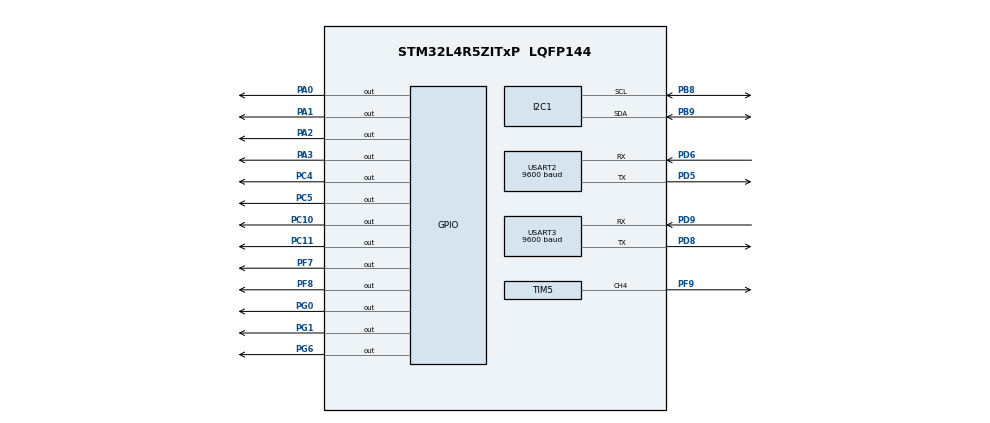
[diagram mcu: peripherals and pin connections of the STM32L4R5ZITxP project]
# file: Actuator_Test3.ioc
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Mcu.Family=STM32L4
Mcu.Name=STM32L4R5ZITxP
Mcu.Package=LQFP144
NVIC.PriorityGroup=NVIC_PRIORITYGROUP_4
NVIC.TIM2_IRQn=true\:4\:0\:true\:false\:true\:true\:true\:true
NVIC.TIM3_IRQn=true\:5\:0\:true\:false\:true\:true\:true\:true
NVIC.TIM4_IRQn=true\:3\:0\:true\:false\:true\:true\:true\:true
NVIC.USART2_IRQn=true\:0\:0\:false\:false\:true\:true\:true\:true
NVIC.USART3_IRQn=true\:0\:0\:false\:false\:true\:true\:true\:true
PA0.Signal=GPIO_Output
PA1.Signal=GPIO_Output
PA10.Signal=USB_OTG_FS_ID
PA13\ (JTMS/SWDIO).Signal=SYS_JTMS-SWDIO
PA14\ (JTCK/SWCLK).Signal=SYS_JTCK-SWCLK
PA2.Signal=GPIO_Output
PA3.Signal=GPIO_Output
PA6.Signal=SPI1_MISO
PA7.Signal=SPI1_MOSI
PA8.Signal=USB_OTG_FS_SOF
PA9.Signal=USB_OTG_FS_VBUS
PB0.Signal=S_TIM3_CH3
PB1.Signal=ADCx_IN16
PB10.Signal=S_TIM2_CH3
PB12.Signal=SAI2_FS_A
PB13.Signal=SAI2_SCK_A
PB14.Signal=S_TIM15_CH1
PB15.Signal=SAI2_SD_A
PB2.Signal=COMP1_INP
PB3\ (JTDO/TRACESWO).Signal=SPI3_SCK
PB4\ (NJTRST).Signal=SPI3_MISO
PB5.Signal=SPI3_MOSI
PB6.Signal=COMP2_INP
PB8.GPIO_Pu=GPIO_PULLUP
PB8.Mode=I2C
PB8.Signal=I2C1_SCL
PB9.GPIO_Pu=GPIO_PULLUP
PB9.Mode=I2C
PB9.Signal=I2C1_SDA
PC0.Signal=ADCx_IN1
PC1.Signal=ADCx_IN2
PC10.Signal=GPIO_Output
PC11.Signal=GPIO_Output
PC12.Signal=SDMMC1_CK
PC13.Signal=SYS_WKUP2
PC14-OSC32_IN\ (PC14).Signal=RCC_OSC32_IN
PC15-OSC32_OUT\ (PC15).Signal=RCC_OSC32_OUT
PC2.Signal=ADCx_IN3
PC3.Signal=ADCx_IN4
PC4.Signal=GPIO_Output
PC5.Signal=GPIO_Output
PC6.Signal=SAI2_MCLK_A
PC7.Signal=S_TIM3_CH2
PC8.Signal=SDMMC1_D0
PC9.Signal=SDMMC1_D1
PD0.Signal=CAN1_RX
PD14.Signal=S_TIM4_CH3
PD15.Signal=S_TIM4_CH4
PD2.Signal=SDMMC1_CMD
PD5.Mode=Asynchronous
PD5.Signal=USART2_TX
PD6.Mode=Asynchronous
PD6.Signal=USART2_RX
PD8.Mode=Asynchronous
PD8.Signal=USART3_TX
PD9.Mode=Asynchronous
PD9.Signal=USART3_RX
PE0.Signal=S_TIM4_ETR
PE10.Signal=TIM1_CH2N
PE11.Signal=S_TIM1_CH2
PE12.Signal=TIM1_CH3N
PE13.Signal=S_TIM1_CH3
PE14.Signal=TIM1_BKIN2
PE15.Signal=TIM1_BKIN
PE2.Signal=SAI1_MCLK_A
PE3.Signal=SAI1_SD_B
PE7.Signal=S_TIM1_ETR
PE8.Signal=TIM1_CH1N
PE9.Signal=S_TIM1_CH1
PF0.Signal=I2C2_SDA
PF1.Signal=I2C2_SCL
PF2.Signal=I2C2_SMBA
PF7.Signal=GPIO_Output
PF8.Signal=GPIO_Output
PF9.Signal=S_TIM5_CH4
PG0.Signal=GPIO_Output
PG1.Signal=GPIO_Output
PG10.Signal=USART1_RX
PG6.Signal=GPIO_Output
PG7.Signal=LPUART1_TX
PG8.Signal=LPUART1_RX
PG9.Signal=USART1_TX
PH0-OSC_IN\ (PH0).Mode=HSE-External-Oscillator
PH0-OSC_IN\ (PH0).Signal=RCC_OSC_IN
PH1-OSC_OUT\ (PH1).Mode=HSE-External-Oscillator
PH1-OSC_OUT\ (PH1).Signal=RCC_OSC_OUT
ProjectManager.HeapSize=0x200
ProjectManager.StackSize=0x400
ProjectManager.TargetToolchain=STM32CubeIDE
RCC.HSE_VALUE=8000000
RCC.HSI48_VALUE=48000000
RCC.HSI_VALUE=16000000
RCC.LSE_VALUE=32768
RCC.MSI_VALUE=4000000
RCC.VCOOutputFreq_Value=32000000
SH.ADCx_IN1.0=ADC1_IN1
SH.ADCx_IN16.0=ADC1_IN16
SH.ADCx_IN2.0=ADC1_IN2
SH.ADCx_IN3.0=ADC1_IN3
SH.ADCx_IN4.0=ADC1_IN4
SH.S_TIM15_CH1.0=TIM15_CH1
SH.S_TIM1_CH1.0=TIM1_CH1
SH.S_TIM1_CH2.0=TIM1_CH2
SH.S_TIM1_CH3.0=TIM1_CH3
SH.S_TIM1_ETR.0=TIM1_ETR
SH.S_TIM2_CH3.0=TIM2_CH3
SH.S_TIM3_CH2.0=TIM3_CH2
SH.S_TIM3_CH3.0=TIM3_CH3
SH.S_TIM4_CH3.0=TIM4_CH3
SH.S_TIM4_CH4.0=TIM4_CH4
SH.S_TIM4_ETR.0=TIM4_ETR
SH.S_TIM5_CH4.0=TIM5_CH4,PWM Generation4 CH4
TIM2.Prescaler=39999
TIM3.Prescaler=39999
TIM5.Channel-PWM\ Generation4\ CH4=TIM_CHANNEL_4
TIM5.Period=49
TIM5.Prescaler=39
USART2.BaudRate=9600
USART2.VirtualMode-Asynchronous=VM_ASYNC
USART3.BaudRate=9600
USART3.VirtualMode-Asynchronous=VM_ASYNC
VP_TIM2_VS_ClockSourceINT.Mode=Internal
VP_TIM3_VS_ClockSourceINT.Mode=Internal
VP_TIM4_VS_ClockSourceINT.Mode=Internal
board=NUCLEO-L4R5ZI-P

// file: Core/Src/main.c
/* USER CODE BEGIN Header */
/**
  ******************************************************************************
  * @file           : main.c
  * @brief          : Main program body
  ******************************************************************************
  * @attention
  *
  * <h2><center>&copy; Copyright (c) 2021 STMicroelectronics.
  * All rights reserved.</center></h2>
  *
  * This software component is licensed by ST under BSD 3-Clause license,
  * the "License"; You may not use this file except in compliance with the
  * License. You may obtain a copy of the License at:
  *                        opensource.org/licenses/BSD-3-Clause
  *
  ******************************************************************************
  */
/* USER CODE END Header */
#include "main.h"

/* USER CODE BEGIN Includes */
#include "math.h"
#include "stdlib.h"

/* USER CODE END Includes */

I2C_HandleTypeDef hi2c1;

TIM_HandleTypeDef htim2;
TIM_HandleTypeDef htim3;
TIM_HandleTypeDef htim4;
TIM_HandleTypeDef htim5;

UART_HandleTypeDef huart2;
UART_HandleTypeDef huart3;

/* USER CODE BEGIN PV */
uint8_t RX_Buffer[5]; //"Interrupt!"
uint8_t TX_Buffer[] = "Hello World\r\n";
/* USER CODE END PV */

void SystemClock_Config(void);
static void MX_GPIO_Init(void);
static void MX_USART2_UART_Init(void);
static void MX_USART3_UART_Init(void);
static void MX_TIM5_Init(void);
static void MX_TIM2_Init(void);
static void MX_TIM3_Init(void);
static void MX_TIM4_Init(void);
static void MX_I2C1_Init(void);

/* USER CODE BEGIN 0 */
#define Motor1A GPIO_PIN_0
#define Motor1B GPIO_PIN_1
#define Motor2A GPIO_PIN_2
#define Motor2B GPIO_PIN_3

#define Motor3A GPIO_PIN_11
#define Motor3B GPIO_PIN_5
#define Motor4A GPIO_PIN_4
#define Motor4B GPIO_PIN_10

void forward(GPIO_TypeDef* GPIOX, uint16_t MotorA, uint16_t MotorB)
{
    HAL_GPIO_WritePin(GPIOX, MotorA, GPIO_PIN_RESET);
    HAL_GPIO_WritePin(GPIOX, MotorB, GPIO_PIN_SET);
}

void backward(GPIO_TypeDef* GPIOX, uint16_t MotorA, uint16_t MotorB)
{
    HAL_GPIO_WritePin(GPIOX, MotorA, GPIO_PIN_SET);
    HAL_GPIO_WritePin(GPIOX, MotorB, GPIO_PIN_RESET);
}

void stop(GPIO_TypeDef* GPIOX, uint16_t MotorA, uint16_t MotorB)
{
    HAL_GPIO_WritePin(GPIOX, MotorA, GPIO_PIN_RESET);
    HAL_GPIO_WritePin(GPIOX, MotorB, GPIO_PIN_RESET);
}

#define MAX_GROUP_SIZE 3 // Maximum number of notes in a group
#define MAX_NOTE_DISTANCE 3 // Maximum distance between notes in a group

#define sizeLimit 2000
#define noteColNum 5
#define lowestNote 36
#define highestNote 96
#define defaultRight 60
#define defaultLeft 43

int actuatorPosL[sizeLimit][2];
int actuatorPosL_len = 0;
int actuatorPosR[sizeLimit][2];
int actuatorPosR_len = 0;

int song_length = 0;
int read_notes = 0;

int reading_title = 0;
char title_data[50];
int title_index = 0;

int actuatorL = 0;
int actuatorR = 0;

int DCLeftStart = 0;
int DCLeftStop = 0;
int DCRightStart = 0;
int DCRightStop = 0;

int note_dataL[sizeLimit][noteColNum];
int note_dataL_len = 0;
int note_dataR[sizeLimit][noteColNum];
int note_dataR_len = 0;

int note_dataR_stop[sizeLimit][2];
int note_dataL_stop[sizeLimit][2];

double current_pos_left = 0;
double current_pos_right = 0;

int formGroups(int noteArr[][noteColNum], int len);
int groupRange(int noteArr[][noteColNum], int len, int group1, int group2);
void groupMerge(int noteArr[][noteColNum], int len, int group1, int group2);
void groupContinuity(int noteArr[][noteColNum], int len);
void movementOps(int noteArr[][noteColNum], int len);
int assignActuatorPos(int actuatorPos[][2], int noteArr[][noteColNum], int note_len, int hand);
void splitStartStop(int noteArr[][noteColNum], int note_len, int noteArrStop[][2]);
void sortStop(int noteArr[][2], int note_len);
void assignDCAct(int actuatorPos[][2], int actuator_len, int noteArr[][noteColNum], int note_len);
void moveActuatorLeft(int note_num);
void moveActuatorRight(int note_num);
int nearestMinWhite(int noteNum);
int nearestMaxWhite(int noteNum);
int isBlackKey(int noteNum);
int setNextLinActuatorTime(int current_time);
void actuatorMoveDistLoop(double dist, int dir);

int formGroups(int noteArr[][noteColNum], int len){
	movementOps(noteArr, len);
	int num_groups = noteArr[len - 1][3];
	for(int i = 0; i < num_groups; i++){
		if(groupRange(noteArr, len, i, i + 1) <= 11){
			groupMerge(noteArr, len, i, i + 1);
			num_groups--;
			groupContinuity(noteArr, len);
			i--;
		}
	}
	return 0;
}

// Given two group numbers, return the collective range
int groupRange(int noteArr[][noteColNum], int len, int group1, int group2){
	int minNote = 100;
	int maxNote = 0;
	for(int i = 0; i < len; i++){
		if(noteArr[i][3] == group1 || noteArr[i][3] == group2){
			if(noteArr[i][4] == 0){
				int min = nearestMinWhite(noteArr[i][0]);
				int max = nearestMaxWhite(noteArr[i][0]);
				if(min < minNote){
					minNote = min;
				}
				if(max > maxNote){
					maxNote = max;
				}
			}
		}
	}
	return maxNote - minNote;
}

// Identify the nearest white note under the argument note number
int nearestMinWhite(int noteNum){
	if(isBlackKey(noteNum)){
		return noteNum - 1;
	}
	return noteNum;
}

// Identify the nearest white note above the argument note number
int nearestMaxWhite(int noteNum){
	if(isBlackKey(noteNum)){
			return noteNum + 1;
		}
		return noteNum;
}

// Identify if a note is a black key
int isBlackKey(int noteNum){
	int isBlack = noteNum % 12;
	if(isBlack == 1 || isBlack == 3 || isBlack == 6 || isBlack == 8 || isBlack == 10){
		return 1;
	}
	return 0;
}
// Given two consecutive groups, combine them into one group using the lower group number; assumes group1 < group2
void groupMerge(int noteArr[][noteColNum], int len, int group1, int group2){
	for(int i = 0; i < len; i++){
		if(noteArr[i][3] == group2){
			noteArr[i][3] = group1;
		}
	}
}

// Reassign group numbers so they are sequential in value
void groupContinuity(int noteArr[][noteColNum], int len){
	int prevGroupNum = 0;
	int replaceGroup = 0;
	int newGroupNum = 0;
	int diff = 0;
	for(int i = 0; i < len; i++){
		diff = noteArr[i][3] - prevGroupNum;
		if(diff > 1 || diff < 0){
			replaceGroup = noteArr[i][3];
			newGroupNum = prevGroupNum + 1;
			while(noteArr[i][3] == replaceGroup && (i < len)){
				noteArr[i][3] = newGroupNum;
				i++;
			}
			i--;
		}
		prevGroupNum = noteArr[i][3];
	}
}

// Search for all movement opportunities and use them as divisions between groups
void movementOps(int noteArr[][noteColNum], int len){
	int current_group = 0;
	int time_max = noteArr[0][2];
	noteArr[0][3] = 0;
	for(int i = 1; i < len; i++){
		if(noteArr[i][1] >= time_max){
			current_group++;
			noteArr[i][3] = current_group;
			time_max = noteArr[i][2];
		}
		else if(noteArr[i][2] > time_max){
			time_max = noteArr[i][2];
			noteArr[i][3] = current_group;
		}
		else{
			noteArr[i][3] = current_group;
		}
	}
}

// Assign actuator positions using a note data array
int assignActuatorPos(int actuatorPos[][2], int noteArr[][noteColNum], int note_len, int hand){
	if(note_len < 1){
		return 0;
	}
	int current_group = 0;
	int group_min_note = noteArr[0][0];
	int group_min_time = noteArr[0][1];
	for(int i = 0; i < note_len; i++){
		if(noteArr[i][3] != current_group){
			if(group_min_note > highestNote || group_min_note < lowestNote){
				if(hand){
					actuatorPos[current_group][0] = defaultLeft;
				}
				else{
					actuatorPos[current_group][0] = defaultRight;
				}
			}
			else{
				actuatorPos[current_group][0] = group_min_note;
			}
			actuatorPos[current_group][1] = group_min_time;
			if(!noteArr[i][4]){
				group_min_note = nearestMinWhite(noteArr[i][0]);
			}
			else{
				group_min_note = 100;
			}
			group_min_time = noteArr[i][1];
			current_group = noteArr[i][3];
		}
		else if(noteArr[i][0] < group_min_note && !noteArr[i][4]){
				group_min_note = nearestMinWhite(noteArr[i][0]);
		}
	}
	if(group_min_note > highestNote || group_min_note < lowestNote){
		if(hand){
			actuatorPos[current_group][0] = defaultLeft;
		}
		else{
			actuatorPos[current_group][0] = defaultRight;
		}
	}
	else{
		actuatorPos[current_group][0] = group_min_note;
	}
	actuatorPos[current_group][1] = group_min_time;

	return current_group + 1;
}

// Split start and stop times for notes
void splitStartStop(int noteArr[][noteColNum], int note_len, int noteArrStop[][2]){
	for(int i = 0; i < note_len; i++){
		noteArrStop[i][0] = noteArr[i][0];
		noteArrStop[i][1] = noteArr[i][2];
	}
}

// Sort stop array
void sortStop(int noteArr[][2], int note_len){
	int key_note, key_time, j;
	for(int i = 1; i < note_len; i++){
		key_note = noteArr[i][0];
		key_time = noteArr[i][1];
		j = i - 1;

		while(j >= 0 && noteArr[j][1] > key_time){
			noteArr[j + 1][0] = noteArr[j][0];
			noteArr[j + 1][1] = noteArr[j][1];
			j--;
		}
		noteArr[j + 1][0] = key_note;
		noteArr[j + 1][1] = key_time;
	}
}

// 12 indicates note should be played on speaker
int DCLookup[][12] = {
		{0, 1, 2, 3, 4, 5, 6, 7, 8, 9, 10, 11},
		{0, 0, 0, 0, 0, 0, 0, 0, 0, 0, 0, 0},
		{11, 12, 0, 1, 2, 4, 12, 5, 6, 7, 8, 9},
		{0, 0, 0, 0, 0, 0, 0, 0, 0, 0, 0, 0},
		{9, 10, 11, 12, 0, 2, 3, 4, 12, 5, 6, 7},
		{7, 8, 9, 10, 11, 0, 1, 2, 3, 4, 12, 5},
		{0, 0, 0, 0, 0, 0, 0, 0, 0, 0, 0, 0},
		{5, 6, 7, 8, 9, 11, 12, 0, 1, 2, 3, 4},
		{0, 0, 0, 0, 0, 0, 0, 0, 0, 0, 0, 0},
		{4, 12, 5, 6, 7, 9, 10, 11, 12, 0, 1, 2},
		{0, 0, 0, 0, 0, 0, 0, 0, 0, 0, 0, 0},
		{2, 3, 4, 12, 5, 7, 8, 9, 10, 11, 12, 0},
};

// Assign DC actuator activations
void assignDCAct(int actuatorPos[][2], int actuator_len, int noteArr[][noteColNum], int note_len){
	int DCNum = 0;
	for(int i = 0; i < note_len; i++){
		if(!noteArr[i][4]){
			DCNum = DCLookup[actuatorPos[(noteArr[i][3])][0] % 12][noteArr[i][0] % 12];
			if(DCNum < 12){
				noteArr[i][0] = DCNum;
			}
		}

	}
}

// Sets TIM2 ARR so that it triggers for the next linear actuator movement
// Returns 0 if there is no next linear actuator movement
int setNextLinActuatorTime(int current_time){
	if(actuatorL >= actuatorPosL_len){
		if(actuatorR >= actuatorPosR_len){
			HAL_TIM_Base_Stop_IT(&htim2);
			return 0;
		}
		else{
			TIM2->ARR = actuatorPosR[actuatorR][1] - current_time;
		}
	}
	else if(actuatorR >= actuatorPosR_len){
		if(actuatorL >= actuatorPosL_len){
			HAL_TIM_Base_Stop_IT(&htim2);
			return 0;
		}
		else{
			TIM2->ARR = actuatorPosL[actuatorL][1] - current_time;
		}
	}
	else if(actuatorPosL[actuatorL][1] < actuatorPosR[actuatorR][1]){
		TIM2->ARR = actuatorPosL[actuatorL][1] - current_time;
	}
	else{
		TIM2->ARR = actuatorPosR[actuatorR][1] - current_time;
	}

	return 1;
}

int movements = 0;
void HAL_TIM_PeriodElapsedCallback(TIM_HandleTypeDef* htim)
{
	// Move actuator
	if(htim == &htim2){
		movements++;
		HAL_TIM_Base_Stop_IT(&htim2);
		HAL_TIM_Base_Stop_IT(&htim3);
		HAL_TIM_Base_Stop_IT(&htim4);
		int current_time = 0;
		if(actuatorL >= actuatorPosL_len){
			moveActuatorRight(actuatorPosR[actuatorR][0]);
			current_time = actuatorPosR[actuatorR][1];
			actuatorR++;
		}
		else if(actuatorR >= actuatorPosR_len){
			moveActuatorLeft(actuatorPosL[actuatorL][0]);
			current_time = actuatorPosL[actuatorL][1];
			actuatorL++;
		}
		else if(actuatorPosL[actuatorL][1] == actuatorPosR[actuatorR][1]){
		    moveActuatorRight(actuatorPosR[actuatorR][0]);
		    moveActuatorLeft(actuatorPosL[actuatorL][0]);
		    current_time = actuatorPosR[actuatorR][1];
		    actuatorR++;
		    actuatorL++;
		}
		else if(actuatorPosL[actuatorL][1] < actuatorPosR[actuatorR][1]){
		    moveActuatorLeft(actuatorPosL[actuatorL][0]);
		    current_time = actuatorPosL[actuatorL][1];
		    actuatorL++;
		}
		else{
		    moveActuatorRight(actuatorPosR[actuatorR][0]);
		    current_time = actuatorPosR[actuatorR][1];
		    actuatorR++;
		}
		HAL_TIM_Base_Start_IT(&htim2);
		HAL_TIM_Base_Start_IT(&htim3);
		HAL_TIM_Base_Start_IT(&htim4);
		setNextLinActuatorTime(current_time);
		movements++;
	}
	else if(htim == &htim3){
		int current_time = 0;
		if(note_dataR[DCRightStart][1] == note_dataL[DCLeftStart][1]){
			current_time = note_dataR[DCRightStart][1];

			while(note_dataR[DCRightStart][1] == current_time){
				//***************************************************
				// Push actuator number "note_dataR[DCRightStart][0]"
				//***************************************************
				DCRightStart++;
			}
			while(note_dataL[DCLeftStart][1] == current_time){
				//***************************************************
				// Push actuator number "note_dataL[DCLeftStart][0]"
				//***************************************************
				DCLeftStart++;
			}
		}
		else if(note_dataR[DCRightStart][1] > note_dataL[DCLeftStart][1]){
			current_time = note_dataL[DCLeftStart][1];

			while(note_dataL[DCLeftStart][1] == current_time){
				//***************************************************
				// Push actuator number "note_dataL[DCLeftStart][0]"
				//***************************************************
				DCLeftStart++;
			}
		}
		else{
			current_time = note_dataR[DCRightStart][1];

			while(note_dataR[DCRightStart][1] == current_time){
				//***************************************************
				// Push actuator number "note_dataR[DCRightStart][0]"
				//***************************************************
				DCRightStart++;
			}
		}
		if(note_dataR[DCRightStart][1] > note_dataL[DCLeftStart][1]){
			TIM3->ARR = note_dataL[DCLeftStart][1] - current_time;
		}
		else{
			TIM3->ARR = note_dataR[DCRightStart][1] - current_time;
		}
	}
	// Pull DC actuator
	else if(htim == &htim4){
		int current_time = 0;
		if(note_dataR_stop[DCRightStop][1] == note_dataL_stop[DCLeftStop][1]){
			current_time = note_dataR_stop[DCRightStop][1];

			while(note_dataR_stop[DCRightStop][1] == current_time){
				//***************************************************
				// Pull actuator number "note_dataR_stop[DCRightStop][0]"
				//***************************************************
				DCRightStop++;
			}
			while(note_dataL_stop[DCLeftStop][1] == current_time){
				//***************************************************
				// Pull actuator number "note_dataL_stop[DCLeftStop][0]"
				//***************************************************
				DCLeftStop++;
			}
		}
		else if(note_dataR_stop[DCRightStop][1] > note_dataL_stop[DCLeftStop][1]){
			current_time = note_dataL_stop[DCLeftStop][1];

			while(note_dataL_stop[DCLeftStop][1] == current_time){
				//***************************************************
				// Pull actuator number "note_dataL_stop[DCLeftStop][0]"
				//***************************************************
				DCLeftStop++;
			}
		}
		else{
			current_time = note_dataR_stop[DCRightStop][1];

			while(note_dataR_stop[DCRightStop][1] == current_time){
				//***************************************************
				// Pull actuator number "note_dataR_stop[DCRightStop][0]"
				//***************************************************
				DCRightStop++;
			}
		}
		if(note_dataR_stop[DCRightStop][1] > note_dataL_stop[DCLeftStop][1]){
			TIM4->ARR = note_dataL_stop[DCLeftStop][1] - current_time;
		}
		else{
			TIM4->ARR = note_dataR_stop[DCRightStop][1] - current_time;
		}
	}
}

const double stepPerRot = 200;
const double stepPerSec = 2000;
const double inPerRot = 2.83;
const double inPerSec = ((stepPerSec / stepPerRot) * inPerRot);

// Lookup Table Note Number to Distance on linear actuator
// May need to be a double for accuracy, depends on what units we decide on
// Current numbers are just example fillers

// absolute locations of both extremes for right and left hand respectively
// Currently, rightMin is c3 and leftMin is c2
const double rightMin = 0;
const double leftMin = 0;
const double whiteNoteDist = 0.93; // Distance between white notes in inches

// Index 0 = note number 48, Index 7 = note number 36
// **************************************************************
// NEED TO ADD ZERO FILLERS FOR BLACK NOTES (LEFT HAND ONLY)
// **************************************************************
const double numToDistLeft[] = {
	leftMin, leftMin + whiteNoteDist, leftMin + whiteNoteDist * 2.0, leftMin + whiteNoteDist * 3.0,
	leftMin + whiteNoteDist * 4.0
};

// Index 0 = note number 71, Index 15 = note number 96
const double numToDistRight[] = {
	rightMin, 0, rightMin + whiteNoteDist, 0, rightMin + whiteNoteDist * 2.0, rightMin + whiteNoteDist * 3.0, 0, rightMin + whiteNoteDist * 4.0, 0
	, rightMin + whiteNoteDist * 5.0, 0, rightMin + whiteNoteDist * 6.0, rightMin + whiteNoteDist * 7.0, 0, rightMin + whiteNoteDist * 8.0, 0
	, rightMin + whiteNoteDist * 9.0, rightMin + whiteNoteDist * 10.0, 0, rightMin + whiteNoteDist * 11.0, 0, rightMin + whiteNoteDist * 12.0, 0
	, rightMin + whiteNoteDist * 13.0, rightMin + whiteNoteDist * 14.0, 0, rightMin + whiteNoteDist * 15.0
};

// Move actuator a given distance in a given direction, takes in distance d argument in inches
void moveActuatorDistLeft(double d, int dir){
	int on_time = (int) ((d / inPerSec) * 1000);

	HAL_GPIO_WritePin(GPIOF, GPIO_PIN_7, dir);
    HAL_GPIO_WritePin(GPIOF, GPIO_PIN_8, 0);

    if(on_time){
        HAL_Delay(on_time);
    }

    HAL_GPIO_WritePin(GPIOF, GPIO_PIN_8, 1);
}

// Move actuator a given distance in a given direction, takes in distance d argument in inches
void moveActuatorDistRight(double d, int dir){
	int on_time = (int) ((d / inPerSec) * 1000);

	HAL_GPIO_WritePin(GPIOF, GPIO_PIN_7, dir);
    HAL_GPIO_WritePin(GPIOF, GPIO_PIN_8, 0);

    if(on_time){
    	HAL_Delay(on_time);
    }

    HAL_GPIO_WritePin(GPIOF, GPIO_PIN_8, 1);
}

// Move the left linear actuator to the correct position for the current note number
void moveActuatorLeft(int note_num){
	double d = numToDistLeft[abs((note_num - defaultLeft))];
	double delta_x = current_pos_left - d;

	if(delta_x > 0){
		// Set stepper direction appropriately
		moveActuatorDistLeft(delta_x, 1);
	}
	else{
		// Set stepper direction appropriately
		moveActuatorDistLeft(delta_x * -1, 0);
	}

	current_pos_left = d;
}

// Move the right linear actuator to the correct position for the current note number
void moveActuatorRight(int note_num){
	double d = numToDistRight[note_num - defaultRight];
	double delta_x = d - current_pos_right;

	if(delta_x > 0){
		// Set stepper direction appropriately
		actuatorMoveDistLoop(delta_x, 1);
		//moveActuatorDistRight(delta_x, 1);
	}
	else{
		// Set stepper direction appropriately
		actuatorMoveDistLoop(delta_x * -1, 0);
		//moveActuatorDistRight(delta_x * -1, 0);
	}

	current_pos_right = d;
}

void play_notes() {
	formGroups(note_dataR, note_dataR_len);
	formGroups(note_dataL, note_dataL_len);

	actuatorPosR_len = assignActuatorPos(actuatorPosR, note_dataR, note_dataR_len, 0);
	actuatorPosL_len = assignActuatorPos(actuatorPosL, note_dataL, note_dataL_len, 1);

	assignDCAct(actuatorPosR, actuatorPosR_len, note_dataR, note_dataR_len);
	assignDCAct(actuatorPosL, actuatorPosL_len, note_dataL, note_dataL_len);
	splitStartStop(note_dataR, note_dataR_len, note_dataR_stop);
	splitStartStop(note_dataL, note_dataL_len, note_dataL_stop);
	sortStop(note_dataR_stop, note_dataR_len);
	sortStop(note_dataL_stop, note_dataL_len);

	TIM2->ARR = 0;
	HAL_TIM_Base_Start_IT(&htim2);

	HAL_TIM_Base_Start_IT(&htim3);

	HAL_TIM_Base_Start_IT(&htim4);

	// Might need to set initial timer ARR values

	//********************************************************************
	// IMPORTANT: Set TIM2 interrupt as higher priority than TIM3 and TIM4
	//********************************************************************
}

void actuatorMoveDistLoop(double dist, int dir){
	int steps = (int) ((dist / inPerRot) * stepPerRot);

	HAL_GPIO_WritePin(GPIOF, GPIO_PIN_7, dir);
	HAL_GPIO_WritePin(GPIOF, GPIO_PIN_8, 0);
	HAL_GPIO_WritePin(GPIOG, GPIO_PIN_0, 0);

	if(steps){
		for(int i = 0; i < steps; i++){
			HAL_GPIO_WritePin(GPIOG, GPIO_PIN_0, 1);
			HAL_Delay(1);
			HAL_GPIO_WritePin(GPIOG, GPIO_PIN_0, 0);
			//********************************************
			// CHANGE SPEED BY CHANGING HAL_Delay BELOW
			//********************************************
			HAL_Delay(1);
		}
	}

	HAL_GPIO_WritePin(GPIOF, GPIO_PIN_8, 1);
}

// DC ACTUATOR CODE
void ON1_PCF8574()
{
	uint8_t data_write1[1] = {0x01};
	uint8_t data_write2[1] = {0x00};
	uint8_t data_write3[1] = {0x02};
	HAL_I2C_Master_Transmit(&hi2c1, (0x20<<1), &data_write1[0], 1, 1000);
	HAL_Delay(200);
	HAL_I2C_Master_Transmit(&hi2c1, (0x20<<1), &data_write2[0], 1, 1000);
	HAL_Delay(200);
	HAL_I2C_Master_Transmit(&hi2c1, (0x20<<1), &data_write3[0], 1, 1000);
	HAL_Delay(200);
}

/* USER CODE END 0 */

int main(void)
{

  /* MCU Configuration--------------------------------------------------------*/

  /* Reset of all peripherals, Initializes the Flash interface and the Systick. */
  HAL_Init();

  /* Configure the system clock */
  SystemClock_Config();

  /* Initialize all configured peripherals */
  MX_GPIO_Init();
  MX_USART2_UART_Init();
  MX_USART3_UART_Init();
  MX_TIM5_Init();
  MX_TIM2_Init();
  MX_TIM3_Init();
  MX_TIM4_Init();
  MX_I2C1_Init();
  /* USER CODE BEGIN 2 */

  //********************************************************
  // Might need to move this to where ever we start the song
  //********************************************************

  HAL_TIM_PWM_Start(&htim5, TIM_CHANNEL_4);
  TIM5->CCR4 = 25;
  uint8_t data_write2[1] = {0x00};
  uint8_t data_write3[1] = {0x02};

  HAL_UART_Receive_IT(&huart3, RX_Buffer, sizeof(RX_Buffer));
  HAL_UART_Transmit_IT(&huart3, TX_Buffer, sizeof(TX_Buffer));
  HAL_GPIO_WritePin(GPIOF, GPIO_PIN_8, 1);

  /*HAL_GPIO_WritePin(GPIOF, GPIO_PIN_8, 1);
  HAL_GPIO_WritePin(GPIOF, GPIO_PIN_7, 1);
  //moveActuatorDistRight(0.93, 1);
  HAL_I2C_Master_Transmit(&hi2c1, (0x20<<1), &data_write3[0], 1, 1000);
  HAL_Delay(200);
  HAL_I2C_Master_Transmit(&hi2c1, (0x20<<1), &data_write2[0], 1, 1000);
  HAL_Delay(200);
  actuatorMoveDistLoop(0.93 * 7, 1);
  HAL_Delay(100);
  ON1_PCF8574();
  actuatorMoveDistLoop(0.93 * 7, 1);
  HAL_Delay(100);
  ON1_PCF8574();
  actuatorMoveDistLoop(0.93 * 7, 0);
  HAL_Delay(100);
  ON1_PCF8574();
  actuatorMoveDistLoop(0.93 * 7, 0);
  HAL_Delay(100);
  ON1_PCF8574();
  HAL_I2C_Master_Transmit(&hi2c1, (0x20<<1), &data_write3[0], 1, 1000);
   HAL_Delay(200);
   HAL_I2C_Master_Transmit(&hi2c1, (0x20<<1), &data_write2[0], 1, 1000);
   HAL_Delay(200);*/

  /*moveActuatorDist(16.25, 1);
  HAL_Delay(100);
  forward(GPIOA, Motor1A, Motor1B);
  forward(GPIOA, Motor2A, Motor2B);
  HAL_Delay(150);
  backward(GPIOA, Motor1A, Motor1B);
  backward(GPIOA, Motor2A, Motor2B);
  HAL_Delay(150);
  forward(GPIOA, Motor1A, Motor1B);
  forward(GPIOA, Motor2A, Motor2B);
  HAL_Delay(150);
  backward(GPIOA, Motor1A, Motor1B);
  backward(GPIOA, Motor2A, Motor2B);
  HAL_Delay(100);

  moveActuatorDist(16.25, 0);
  HAL_Delay(100);
  forward(GPIOA, Motor1A, Motor1B);
  forward(GPIOA, Motor2A, Motor2B);
  HAL_Delay(100);
  backward(GPIOA, Motor1A, Motor1B);
  backward(GPIOA, Motor2A, Motor2B);

  stop(GPIOA, Motor1A, Motor1B);
  stop(GPIOA, Motor2A, Motor2B);*/
  /*HAL_GPIO_WritePin(GPIOF, GPIO_PIN_8, 1);
  HAL_GPIO_WritePin(GPIOF, GPIO_PIN_7, 1);
  HAL_GPIO_WritePin(GPIOF, GPIO_PIN_8, 0);
  for(int i = 0; i < 200; i++){
  	HAL_GPIO_WritePin(GPIOG, GPIO_PIN_0, 1);
  	HAL_Delay(1);
  	HAL_GPIO_WritePin(GPIOG, GPIO_PIN_0, 0);
  	HAL_Delay(199);
  }
  HAL_GPIO_WritePin(GPIOF, GPIO_PIN_8, 1);*/

  /*HAL_GPIO_WritePin(GPIOF, GPIO_PIN_8, 1);
  HAL_GPIO_WritePin(GPIOF, GPIO_PIN_7, 1);
  HAL_GPIO_WritePin(GPIOF, GPIO_PIN_8, 0);
  HAL_Delay(1000);
  HAL_GPIO_WritePin(GPIOF, GPIO_PIN_8, 1);*/
  /* USER CODE END 2 */

  /* Infinite loop */
  /* USER CODE BEGIN WHILE */

  HAL_GPIO_WritePin(GPIOF, GPIO_PIN_8, 1);
  while (1)
  {

    /* USER CODE END WHILE */

    /* USER CODE BEGIN 3 */
	  /*moveActuatorDistLeft(5, 1);
	  HAL_Delay(1000);
	  moveActuatorDistLeft(5, 0);
	  HAL_Delay(1000);*/

	  actuatorMoveDistLoop(10, 1);
	  HAL_Delay(1000);
	  actuatorMoveDistLoop(10, 0);
	  HAL_Delay(1000);
  }
  /* USER CODE END 3 */
}

void SystemClock_Config(void)
{
  RCC_OscInitTypeDef RCC_OscInitStruct = {0};
  RCC_ClkInitTypeDef RCC_ClkInitStruct = {0};

  /** Configure the main internal regulator output voltage
  */
  if (HAL_PWREx_ControlVoltageScaling(PWR_REGULATOR_VOLTAGE_SCALE1) != HAL_OK)
  {
    Error_Handler();
  }

  /** Initializes the RCC Oscillators according to the specified parameters
  * in the RCC_OscInitTypeDef structure.
  */
  RCC_OscInitStruct.OscillatorType = RCC_OSCILLATORTYPE_MSI;
  RCC_OscInitStruct.MSIState = RCC_MSI_ON;
  RCC_OscInitStruct.MSICalibrationValue = 0;
  RCC_OscInitStruct.MSIClockRange = RCC_MSIRANGE_6;
  RCC_OscInitStruct.PLL.PLLState = RCC_PLL_NONE;
  if (HAL_RCC_OscConfig(&RCC_OscInitStruct) != HAL_OK)
  {
    Error_Handler();
  }

  /** Initializes the CPU, AHB and APB buses clocks
  */
  RCC_ClkInitStruct.ClockType = RCC_CLOCKTYPE_HCLK|RCC_CLOCKTYPE_SYSCLK
                              |RCC_CLOCKTYPE_PCLK1|RCC_CLOCKTYPE_PCLK2;
  RCC_ClkInitStruct.SYSCLKSource = RCC_SYSCLKSOURCE_MSI;
  RCC_ClkInitStruct.AHBCLKDivider = RCC_SYSCLK_DIV1;
  RCC_ClkInitStruct.APB1CLKDivider = RCC_HCLK_DIV1;
  RCC_ClkInitStruct.APB2CLKDivider = RCC_HCLK_DIV1;

  if (HAL_RCC_ClockConfig(&RCC_ClkInitStruct, FLASH_LATENCY_0) != HAL_OK)
  {
    Error_Handler();
  }
}

static void MX_I2C1_Init(void)
{

  hi2c1.Instance = I2C1;
  hi2c1.Init.Timing = 0x00000E14;
  hi2c1.Init.OwnAddress1 = 0;
  hi2c1.Init.AddressingMode = I2C_ADDRESSINGMODE_7BIT;
  hi2c1.Init.DualAddressMode = I2C_DUALADDRESS_DISABLE;
  hi2c1.Init.OwnAddress2 = 0;
  hi2c1.Init.OwnAddress2Masks = I2C_OA2_NOMASK;
  hi2c1.Init.GeneralCallMode = I2C_GENERALCALL_DISABLE;
  hi2c1.Init.NoStretchMode = I2C_NOSTRETCH_DISABLE;
  if (HAL_I2C_Init(&hi2c1) != HAL_OK)
  {
    Error_Handler();
  }

  /** Configure Analogue filter
  */
  if (HAL_I2CEx_ConfigAnalogFilter(&hi2c1, I2C_ANALOGFILTER_ENABLE) != HAL_OK)
  {
    Error_Handler();
  }

  /** Configure Digital filter
  */
  if (HAL_I2CEx_ConfigDigitalFilter(&hi2c1, 0) != HAL_OK)
  {
    Error_Handler();
  }

}

static void MX_TIM2_Init(void)
{

  TIM_ClockConfigTypeDef sClockSourceConfig = {0};
  TIM_MasterConfigTypeDef sMasterConfig = {0};

  htim2.Instance = TIM2;
  htim2.Init.Prescaler = 39999;
  htim2.Init.CounterMode = TIM_COUNTERMODE_UP;
  htim2.Init.Period = 4294967295;
  htim2.Init.ClockDivision = TIM_CLOCKDIVISION_DIV1;
  htim2.Init.AutoReloadPreload = TIM_AUTORELOAD_PRELOAD_DISABLE;
  if (HAL_TIM_Base_Init(&htim2) != HAL_OK)
  {
    Error_Handler();
  }
  sClockSourceConfig.ClockSource = TIM_CLOCKSOURCE_INTERNAL;
  if (HAL_TIM_ConfigClockSource(&htim2, &sClockSourceConfig) != HAL_OK)
  {
    Error_Handler();
  }
  sMasterConfig.MasterOutputTrigger = TIM_TRGO_RESET;
  sMasterConfig.MasterSlaveMode = TIM_MASTERSLAVEMODE_DISABLE;
  if (HAL_TIMEx_MasterConfigSynchronization(&htim2, &sMasterConfig) != HAL_OK)
  {
    Error_Handler();
  }

}

static void MX_TIM3_Init(void)
{

  TIM_ClockConfigTypeDef sClockSourceConfig = {0};
  TIM_MasterConfigTypeDef sMasterConfig = {0};

  htim3.Instance = TIM3;
  htim3.Init.Prescaler = 39999;
  htim3.Init.CounterMode = TIM_COUNTERMODE_UP;
  htim3.Init.Period = 65535;
  htim3.Init.ClockDivision = TIM_CLOCKDIVISION_DIV1;
  htim3.Init.AutoReloadPreload = TIM_AUTORELOAD_PRELOAD_DISABLE;
  if (HAL_TIM_Base_Init(&htim3) != HAL_OK)
  {
    Error_Handler();
  }
  sClockSourceConfig.ClockSource = TIM_CLOCKSOURCE_INTERNAL;
  if (HAL_TIM_ConfigClockSource(&htim3, &sClockSourceConfig) != HAL_OK)
  {
    Error_Handler();
  }
  sMasterConfig.MasterOutputTrigger = TIM_TRGO_RESET;
  sMasterConfig.MasterSlaveMode = TIM_MASTERSLAVEMODE_DISABLE;
  if (HAL_TIMEx_MasterConfigSynchronization(&htim3, &sMasterConfig) != HAL_OK)
  {
    Error_Handler();
  }

}

static void MX_TIM4_Init(void)
{

  TIM_ClockConfigTypeDef sClockSourceConfig = {0};
  TIM_MasterConfigTypeDef sMasterConfig = {0};

  htim4.Instance = TIM4;
  htim4.Init.Prescaler = 0;
  htim4.Init.CounterMode = TIM_COUNTERMODE_UP;
  htim4.Init.Period = 65535;
  htim4.Init.ClockDivision = TIM_CLOCKDIVISION_DIV1;
  htim4.Init.AutoReloadPreload = TIM_AUTORELOAD_PRELOAD_DISABLE;
  if (HAL_TIM_Base_Init(&htim4) != HAL_OK)
  {
    Error_Handler();
  }
  sClockSourceConfig.ClockSource = TIM_CLOCKSOURCE_INTERNAL;
  if (HAL_TIM_ConfigClockSource(&htim4, &sClockSourceConfig) != HAL_OK)
  {
    Error_Handler();
  }
  sMasterConfig.MasterOutputTrigger = TIM_TRGO_RESET;
  sMasterConfig.MasterSlaveMode = TIM_MASTERSLAVEMODE_DISABLE;
  if (HAL_TIMEx_MasterConfigSynchronization(&htim4, &sMasterConfig) != HAL_OK)
  {
    Error_Handler();
  }

}

static void MX_TIM5_Init(void)
{

  TIM_MasterConfigTypeDef sMasterConfig = {0};
  TIM_OC_InitTypeDef sConfigOC = {0};

  htim5.Instance = TIM5;
  htim5.Init.Prescaler = 39;
  htim5.Init.CounterMode = TIM_COUNTERMODE_UP;
  htim5.Init.Period = 49;
  htim5.Init.ClockDivision = TIM_CLOCKDIVISION_DIV1;
  htim5.Init.AutoReloadPreload = TIM_AUTORELOAD_PRELOAD_DISABLE;
  if (HAL_TIM_PWM_Init(&htim5) != HAL_OK)
  {
    Error_Handler();
  }
  sMasterConfig.MasterOutputTrigger = TIM_TRGO_RESET;
  sMasterConfig.MasterSlaveMode = TIM_MASTERSLAVEMODE_DISABLE;
  if (HAL_TIMEx_MasterConfigSynchronization(&htim5, &sMasterConfig) != HAL_OK)
  {
    Error_Handler();
  }
  sConfigOC.OCMode = TIM_OCMODE_PWM1;
  sConfigOC.Pulse = 0;
  sConfigOC.OCPolarity = TIM_OCPOLARITY_HIGH;
  sConfigOC.OCFastMode = TIM_OCFAST_DISABLE;
  if (HAL_TIM_PWM_ConfigChannel(&htim5, &sConfigOC, TIM_CHANNEL_4) != HAL_OK)
  {
    Error_Handler();
  }
  HAL_TIM_MspPostInit(&htim5);

}

static void MX_USART2_UART_Init(void)
{

  huart2.Instance = USART2;
  huart2.Init.BaudRate = 9600;
  huart2.Init.WordLength = UART_WORDLENGTH_8B;
  huart2.Init.StopBits = UART_STOPBITS_1;
  huart2.Init.Parity = UART_PARITY_NONE;
  huart2.Init.Mode = UART_MODE_TX_RX;
  huart2.Init.HwFlowCtl = UART_HWCONTROL_NONE;
  huart2.Init.OverSampling = UART_OVERSAMPLING_16;
  huart2.Init.OneBitSampling = UART_ONE_BIT_SAMPLE_DISABLE;
  huart2.Init.ClockPrescaler = UART_PRESCALER_DIV1;
  huart2.AdvancedInit.AdvFeatureInit = UART_ADVFEATURE_NO_INIT;
  if (HAL_UART_Init(&huart2) != HAL_OK)
  {
    Error_Handler();
  }
  if (HAL_UARTEx_SetTxFifoThreshold(&huart2, UART_TXFIFO_THRESHOLD_1_8) != HAL_OK)
  {
    Error_Handler();
  }
  if (HAL_UARTEx_SetRxFifoThreshold(&huart2, UART_RXFIFO_THRESHOLD_1_8) != HAL_OK)
  {
    Error_Handler();
  }
  if (HAL_UARTEx_DisableFifoMode(&huart2) != HAL_OK)
  {
    Error_Handler();
  }

}

static void MX_USART3_UART_Init(void)
{

  huart3.Instance = USART3;
  huart3.Init.BaudRate = 9600;
  huart3.Init.WordLength = UART_WORDLENGTH_8B;
  huart3.Init.StopBits = UART_STOPBITS_1;
  huart3.Init.Parity = UART_PARITY_NONE;
  huart3.Init.Mode = UART_MODE_TX_RX;
  huart3.Init.HwFlowCtl = UART_HWCONTROL_NONE;
  huart3.Init.OverSampling = UART_OVERSAMPLING_16;
  huart3.Init.OneBitSampling = UART_ONE_BIT_SAMPLE_DISABLE;
  huart3.Init.ClockPrescaler = UART_PRESCALER_DIV1;
  huart3.AdvancedInit.AdvFeatureInit = UART_ADVFEATURE_NO_INIT;
  if (HAL_UART_Init(&huart3) != HAL_OK)
  {
    Error_Handler();
  }
  if (HAL_UARTEx_SetTxFifoThreshold(&huart3, UART_TXFIFO_THRESHOLD_1_8) != HAL_OK)
  {
    Error_Handler();
  }
  if (HAL_UARTEx_SetRxFifoThreshold(&huart3, UART_RXFIFO_THRESHOLD_1_8) != HAL_OK)
  {
    Error_Handler();
  }
  if (HAL_UARTEx_DisableFifoMode(&huart3) != HAL_OK)
  {
    Error_Handler();
  }

}

static void MX_GPIO_Init(void)
{
  GPIO_InitTypeDef GPIO_InitStruct = {0};

  /* GPIO Ports Clock Enable */
  __HAL_RCC_GPIOE_CLK_ENABLE();
  __HAL_RCC_GPIOC_CLK_ENABLE();
  __HAL_RCC_GPIOF_CLK_ENABLE();
  __HAL_RCC_GPIOH_CLK_ENABLE();
  __HAL_RCC_GPIOA_CLK_ENABLE();
  __HAL_RCC_GPIOB_CLK_ENABLE();
  __HAL_RCC_GPIOG_CLK_ENABLE();
  __HAL_RCC_GPIOD_CLK_ENABLE();
  HAL_PWREx_EnableVddIO2();

  /*Configure GPIO pin Output Level */
  HAL_GPIO_WritePin(GPIOF, GPIO_PIN_7|GPIO_PIN_8, GPIO_PIN_RESET);

  /*Configure GPIO pin Output Level */
  HAL_GPIO_WritePin(GPIOA, GPIO_PIN_0|GPIO_PIN_1|GPIO_PIN_2|GPIO_PIN_3, GPIO_PIN_RESET);

  /*Configure GPIO pin Output Level */
  HAL_GPIO_WritePin(GPIOC, GPIO_PIN_4|GPIO_PIN_5|GPIO_PIN_10|GPIO_PIN_11, GPIO_PIN_RESET);

  /*Configure GPIO pin Output Level */
  HAL_GPIO_WritePin(GPIOG, GPIO_PIN_0|GPIO_PIN_1|GPIO_PIN_6, GPIO_PIN_RESET);

  /*Configure GPIO pins : PE2 PE3 */
  GPIO_InitStruct.Pin = GPIO_PIN_2|GPIO_PIN_3;
  GPIO_InitStruct.Mode = GPIO_MODE_AF_PP;
  GPIO_InitStruct.Pull = GPIO_NOPULL;
  GPIO_InitStruct.Speed = GPIO_SPEED_FREQ_LOW;
  GPIO_InitStruct.Alternate = GPIO_AF13_SAI1;
  HAL_GPIO_Init(GPIOE, &GPIO_InitStruct);

  /*Configure GPIO pins : PF0 PF1 PF2 */
  GPIO_InitStruct.Pin = GPIO_PIN_0|GPIO_PIN_1|GPIO_PIN_2;
  GPIO_InitStruct.Mode = GPIO_MODE_AF_OD;
  GPIO_InitStruct.Pull = GPIO_NOPULL;
  GPIO_InitStruct.Speed = GPIO_SPEED_FREQ_VERY_HIGH;
  GPIO_InitStruct.Alternate = GPIO_AF4_I2C2;
  HAL_GPIO_Init(GPIOF, &GPIO_InitStruct);

  /*Configure GPIO pins : PF7 PF8 */
  GPIO_InitStruct.Pin = GPIO_PIN_7|GPIO_PIN_8;
  GPIO_InitStruct.Mode = GPIO_MODE_OUTPUT_PP;
  GPIO_InitStruct.Pull = GPIO_NOPULL;
  GPIO_InitStruct.Speed = GPIO_SPEED_FREQ_LOW;
  HAL_GPIO_Init(GPIOF, &GPIO_InitStruct);

  /*Configure GPIO pins : PC0 PC1 PC2 PC3 */
  GPIO_InitStruct.Pin = GPIO_PIN_0|GPIO_PIN_1|GPIO_PIN_2|GPIO_PIN_3;
  GPIO_InitStruct.Mode = GPIO_MODE_ANALOG_ADC_CONTROL;
  GPIO_InitStruct.Pull = GPIO_NOPULL;
  HAL_GPIO_Init(GPIOC, &GPIO_InitStruct);

  /*Configure GPIO pins : PA0 PA1 PA2 PA3 */
  GPIO_InitStruct.Pin = GPIO_PIN_0|GPIO_PIN_1|GPIO_PIN_2|GPIO_PIN_3;
  GPIO_InitStruct.Mode = GPIO_MODE_OUTPUT_PP;
  GPIO_InitStruct.Pull = GPIO_NOPULL;
  GPIO_InitStruct.Speed = GPIO_SPEED_FREQ_LOW;
  HAL_GPIO_Init(GPIOA, &GPIO_InitStruct);

  /*Configure GPIO pins : PA6 PA7 */
  GPIO_InitStruct.Pin = GPIO_PIN_6|GPIO_PIN_7;
  GPIO_InitStruct.Mode = GPIO_MODE_AF_PP;
  GPIO_InitStruct.Pull = GPIO_NOPULL;
  GPIO_InitStruct.Speed = GPIO_SPEED_FREQ_VERY_HIGH;
  GPIO_InitStruct.Alternate = GPIO_AF5_SPI1;
  HAL_GPIO_Init(GPIOA, &GPIO_InitStruct);

  /*Configure GPIO pins : PC4 PC5 PC10 PC11 */
  GPIO_InitStruct.Pin = GPIO_PIN_4|GPIO_PIN_5|GPIO_PIN_10|GPIO_PIN_11;
  GPIO_InitStruct.Mode = GPIO_MODE_OUTPUT_PP;
  GPIO_InitStruct.Pull = GPIO_NOPULL;
  GPIO_InitStruct.Speed = GPIO_SPEED_FREQ_LOW;
  HAL_GPIO_Init(GPIOC, &GPIO_InitStruct);

  /*Configure GPIO pin : PB1 */
  GPIO_InitStruct.Pin = GPIO_PIN_1;
  GPIO_InitStruct.Mode = GPIO_MODE_ANALOG_ADC_CONTROL;
  GPIO_InitStruct.Pull = GPIO_NOPULL;
  HAL_GPIO_Init(GPIOB, &GPIO_InitStruct);

  /*Configure GPIO pins : PB2 PB6 */
  GPIO_InitStruct.Pin = GPIO_PIN_2|GPIO_PIN_6;
  GPIO_InitStruct.Mode = GPIO_MODE_ANALOG;
  GPIO_InitStruct.Pull = GPIO_NOPULL;
  HAL_GPIO_Init(GPIOB, &GPIO_InitStruct);

  /*Configure GPIO pins : PG0 PG1 PG6 */
  GPIO_InitStruct.Pin = GPIO_PIN_0|GPIO_PIN_1|GPIO_PIN_6;
  GPIO_InitStruct.Mode = GPIO_MODE_OUTPUT_PP;
  GPIO_InitStruct.Pull = GPIO_NOPULL;
  GPIO_InitStruct.Speed = GPIO_SPEED_FREQ_LOW;
  HAL_GPIO_Init(GPIOG, &GPIO_InitStruct);

  /*Configure GPIO pins : PE7 PE8 PE9 PE10
                           PE11 PE12 PE13 */
  GPIO_InitStruct.Pin = GPIO_PIN_7|GPIO_PIN_8|GPIO_PIN_9|GPIO_PIN_10
                          |GPIO_PIN_11|GPIO_PIN_12|GPIO_PIN_13;
  GPIO_InitStruct.Mode = GPIO_MODE_AF_PP;
  GPIO_InitStruct.Pull = GPIO_NOPULL;
  GPIO_InitStruct.Speed = GPIO_SPEED_FREQ_LOW;
  GPIO_InitStruct.Alternate = GPIO_AF1_TIM1;
  HAL_GPIO_Init(GPIOE, &GPIO_InitStruct);

  /*Configure GPIO pins : PE14 PE15 */
  GPIO_InitStruct.Pin = GPIO_PIN_14|GPIO_PIN_15;
  GPIO_InitStruct.Mode = GPIO_MODE_AF_PP;
  GPIO_InitStruct.Pull = GPIO_NOPULL;
  GPIO_InitStruct.Speed = GPIO_SPEED_FREQ_LOW;
  GPIO_InitStruct.Alternate = GPIO_AF3_TIM1_COMP1;
  HAL_GPIO_Init(GPIOE, &GPIO_InitStruct);

  /*Configure GPIO pins : PB12 PB13 PB15 */
  GPIO_InitStruct.Pin = GPIO_PIN_12|GPIO_PIN_13|GPIO_PIN_15;
  GPIO_InitStruct.Mode = GPIO_MODE_AF_PP;
  GPIO_InitStruct.Pull = GPIO_NOPULL;
  GPIO_InitStruct.Speed = GPIO_SPEED_FREQ_LOW;
  GPIO_InitStruct.Alternate = GPIO_AF13_SAI2;
  HAL_GPIO_Init(GPIOB, &GPIO_InitStruct);

  /*Configure GPIO pin : PB14 */
  GPIO_InitStruct.Pin = GPIO_PIN_14;
  GPIO_InitStruct.Mode = GPIO_MODE_AF_PP;
  GPIO_InitStruct.Pull = GPIO_NOPULL;
  GPIO_InitStruct.Speed = GPIO_SPEED_FREQ_LOW;
  GPIO_InitStruct.Alternate = GPIO_AF14_TIM15;
  HAL_GPIO_Init(GPIOB, &GPIO_InitStruct);

  /*Configure GPIO pins : PG7 PG8 */
  GPIO_InitStruct.Pin = GPIO_PIN_7|GPIO_PIN_8;
  GPIO_InitStruct.Mode = GPIO_MODE_AF_PP;
  GPIO_InitStruct.Pull = GPIO_NOPULL;
  GPIO_InitStruct.Speed = GPIO_SPEED_FREQ_VERY_HIGH;
  GPIO_InitStruct.Alternate = GPIO_AF8_LPUART1;
  HAL_GPIO_Init(GPIOG, &GPIO_InitStruct);

  /*Configure GPIO pin : PC6 */
  GPIO_InitStruct.Pin = GPIO_PIN_6;
  GPIO_InitStruct.Mode = GPIO_MODE_AF_PP;
  GPIO_InitStruct.Pull = GPIO_NOPULL;
  GPIO_InitStruct.Speed = GPIO_SPEED_FREQ_LOW;
  GPIO_InitStruct.Alternate = GPIO_AF13_SAI2;
  HAL_GPIO_Init(GPIOC, &GPIO_InitStruct);

  /*Configure GPIO pins : PC8 PC9 PC12 */
  GPIO_InitStruct.Pin = GPIO_PIN_8|GPIO_PIN_9|GPIO_PIN_12;
  GPIO_InitStruct.Mode = GPIO_MODE_AF_PP;
  GPIO_InitStruct.Pull = GPIO_NOPULL;
  GPIO_InitStruct.Speed = GPIO_SPEED_FREQ_VERY_HIGH;
  GPIO_InitStruct.Alternate = GPIO_AF12_SDMMC1;
  HAL_GPIO_Init(GPIOC, &GPIO_InitStruct);

  /*Configure GPIO pins : PA8 PA10 */
  GPIO_InitStruct.Pin = GPIO_PIN_8|GPIO_PIN_10;
  GPIO_InitStruct.Mode = GPIO_MODE_AF_PP;
  GPIO_InitStruct.Pull = GPIO_NOPULL;
  GPIO_InitStruct.Speed = GPIO_SPEED_FREQ_VERY_HIGH;
  GPIO_InitStruct.Alternate = GPIO_AF10_OTG_FS;
  HAL_GPIO_Init(GPIOA, &GPIO_InitStruct);

  /*Configure GPIO pin : PA9 */
  GPIO_InitStruct.Pin = GPIO_PIN_9;
  GPIO_InitStruct.Mode = GPIO_MODE_INPUT;
  GPIO_InitStruct.Pull = GPIO_NOPULL;
  HAL_GPIO_Init(GPIOA, &GPIO_InitStruct);

  /*Configure GPIO pin : PD0 */
  GPIO_InitStruct.Pin = GPIO_PIN_0;
  GPIO_InitStruct.Mode = GPIO_MODE_AF_PP;
  GPIO_InitStruct.Pull = GPIO_NOPULL;
  GPIO_InitStruct.Speed = GPIO_SPEED_FREQ_VERY_HIGH;
  GPIO_InitStruct.Alternate = GPIO_AF9_CAN1;
  HAL_GPIO_Init(GPIOD, &GPIO_InitStruct);

  /*Configure GPIO pin : PD2 */
  GPIO_InitStruct.Pin = GPIO_PIN_2;
  GPIO_InitStruct.Mode = GPIO_MODE_AF_PP;
  GPIO_InitStruct.Pull = GPIO_NOPULL;
  GPIO_InitStruct.Speed = GPIO_SPEED_FREQ_VERY_HIGH;
  GPIO_InitStruct.Alternate = GPIO_AF12_SDMMC1;
  HAL_GPIO_Init(GPIOD, &GPIO_InitStruct);

  /*Configure GPIO pins : PG9 PG10 */
  GPIO_InitStruct.Pin = GPIO_PIN_9|GPIO_PIN_10;
  GPIO_InitStruct.Mode = GPIO_MODE_AF_PP;
  GPIO_InitStruct.Pull = GPIO_NOPULL;
  GPIO_InitStruct.Speed = GPIO_SPEED_FREQ_VERY_HIGH;
  GPIO_InitStruct.Alternate = GPIO_AF7_USART1;
  HAL_GPIO_Init(GPIOG, &GPIO_InitStruct);

  /*Configure GPIO pins : PB3 PB4 PB5 */
  GPIO_InitStruct.Pin = GPIO_PIN_3|GPIO_PIN_4|GPIO_PIN_5;
  GPIO_InitStruct.Mode = GPIO_MODE_AF_PP;
  GPIO_InitStruct.Pull = GPIO_NOPULL;
  GPIO_InitStruct.Speed = GPIO_SPEED_FREQ_VERY_HIGH;
  GPIO_InitStruct.Alternate = GPIO_AF6_SPI3;
  HAL_GPIO_Init(GPIOB, &GPIO_InitStruct);

}

/* USER CODE BEGIN 4 */

void HAL_UART_RxCpltCallback(UART_HandleTypeDef *huart)
{
	//__NOP(); // for debugging
	//Commented out ->Instance
		if (huart->Instance == USART3)
	    {

			/*//MOTOR1
			if (RX_Buffer[0] == 'F')
	        {
	          forward(GPIOA, Motor1A, Motor1B);
	        }
	        else if (RX_Buffer[0] == 'B')
	        {
	          backward(GPIOA, Motor1A, Motor1B);
	        }
//	        else if (RX_Buffer[0] == 'S')
//	        {
//	          stop(GPIOA, Motor1A, Motor1B);
//	        }

	        //MOTOR2
	        if (RX_Buffer[1] == 'F')
	        {
	          forward(GPIOA, Motor2A, Motor2B);
	        }
	        else if (RX_Buffer[1] == 'B')
	        {
	          backward(GPIOA, Motor2A, Motor2B);
	        }
//	        else if (RX_Buffer[1] == 'S')
//	        {
//	          stop(GPIOA, Motor2A, Motor2B);
//	        }

	        //MOTOR3
	        if (RX_Buffer[1] == 'F')
	        {
	        	forward(GPIOA, Motor2A, Motor2B);
	        }
	        else if (RX_Buffer[1] == 'B')
	        {
	        	backward(GPIOA, Motor2A, Motor2B);
	        }
//	        else if (RX_Buffer[1] == 'S')
//	        {
//	        	stop(GPIOA, Motor2A, Motor2B);
//	        }*/

	        // RX_Buffer[0] = note number
	        // RX_Buffer[1] = start time upper half, RX_Buffer[2] = start time lower half
	        // RX_Buffer[3] = end time upper half, RX_Buffer[4] = end time lower half
	        int noteNum = RX_Buffer[0];
	        int start_Time = (RX_Buffer[1] << 8) + RX_Buffer[2];
	        int end_Time = (RX_Buffer[3] << 8) + RX_Buffer[4];
	        if(noteNum == 1 && start_Time == end_Time){
	        	// Starting to send title
	        	reading_title = 1;
	        	title_index = 0;
	        }
	        else if(noteNum == 2 && start_Time == end_Time){
	        	// Title done, do other stuff
	        	reading_title = 0;
	        }
	        else if(reading_title){
	        	for(int i = 0; i < 5; i++){
	        		title_data[title_index + i] = RX_Buffer[i];
	        	}
	        	title_index += 5;
	        }
	        // noteNum = 0 and start_Time = end_Time indicates the beginning of a song
	        // noteNum = 255 and start_time = end_Time indicates the end of a song
	        if(noteNum == 3 && start_Time == end_Time){
	        	song_length = 0;
	        	note_dataR_len = 0;
	        	note_dataL_len = 0;
	        	read_notes = 1;
	        }
	        else if (noteNum == 4 && start_Time == end_Time){
	        	note_dataR[note_dataR_len][0] = 0;
	            note_dataR[note_dataR_len][1] = 0;
	            note_dataR[note_dataR_len][2] = 0;
	            note_dataL[note_dataL_len][0] = 0;
	            note_dataL[note_dataL_len][1] = 0;
	            note_dataL[note_dataL_len][2] = 0;
	        	song_length = note_dataR_len + note_dataL_len;
	            read_notes = 0;
	            play_notes();
	        }
	        else if(read_notes){
	        	if(noteNum >= 60){
	        		note_dataR[note_dataR_len][0] = noteNum;
	        		note_dataR[note_dataR_len][1] = start_Time;
	        		note_dataR[note_dataR_len][2] = end_Time;
	        		if(noteNum > highestNote){
	        			note_dataR[note_dataR_len][4] = 1;
	        		}
	        		else{
	        			note_dataR[note_dataR_len][4] = 0;
	        		}
	        		note_dataR_len++;
	        	}
	        	else{
	        		note_dataL[note_dataL_len][0] = noteNum;
	        		note_dataL[note_dataL_len][1] = start_Time;
	        		note_dataL[note_dataL_len][2] = end_Time;
	        		if(noteNum < lowestNote){
	        			note_dataR[note_dataR_len][4] = 1;
	        		}
	        		else{
	        			note_dataR[note_dataR_len][4] = 0;
	        		}
	        		note_dataL_len++;
	        	}
	        }

	         // Similar logic for the last 2 motors using ReceivedData[2] and ReceivedData[3]
	        //memset(RX_Buffer, 0, sizeof(RX_Buffer));
	        HAL_UART_Receive_IT(&huart3, RX_Buffer, sizeof(RX_Buffer));
	    }

}
/* USER CODE END 4 */

void Error_Handler(void)
{
  __disable_irq();
  while (1)
  {
  }
}
